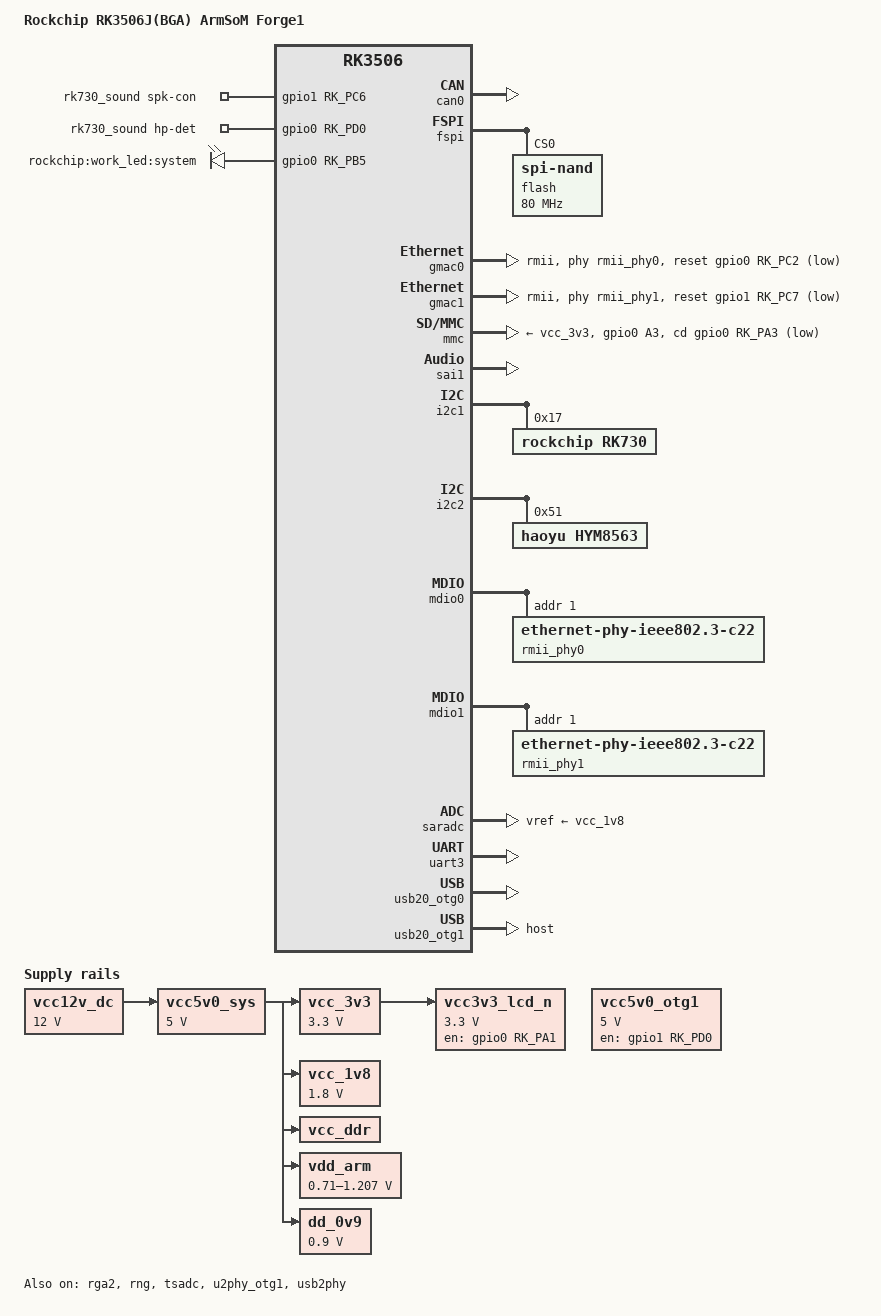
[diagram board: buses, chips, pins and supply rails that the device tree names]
// SPDX-License-Identifier: (GPL-2.0+ OR MIT)
/*
 * Copyright (c) 2024 Rockchip Electronics Co., Ltd.
 */

/dts-v1/;
// from rk3506b-evb1-v10
#include <dt-bindings/display/drm_mipi_dsi.h>
#include <dt-bindings/suspend/rockchip-rk3506.h>
#include <dt-bindings/input/rk-input.h>
#include "rk3506.dtsi"
#include "rk3506b-armsom-forge1-display-8hd.dtsi"

/ {
	model = "Rockchip RK3506J(BGA) ArmSoM Forge1";
	compatible = "rockchip,rk3506J-armsom-forge1", "rockchip,rk3506";

	vcc12v_dc: vcc12v-dc {
		compatible = "regulator-fixed";
		regulator-name = "vcc12v_dc";
		regulator-always-on;
		regulator-boot-on;
		regulator-min-microvolt = <12000000>;
		regulator-max-microvolt = <12000000>;
	};

	vcc5v0_sys: vcc5v0-sys {
		compatible = "regulator-fixed";
		regulator-name = "vcc5v0_sys";
		regulator-always-on;
		regulator-boot-on;
		regulator-min-microvolt = <5000000>;
		regulator-max-microvolt = <5000000>;
		vin-supply = <&vcc12v_dc>;
	};

	vcc_3v3: vcc-3v3 {
		compatible = "regulator-fixed";
		regulator-name = "vcc_3v3";
		regulator-always-on;
		regulator-boot-on;
		regulator-min-microvolt = <3300000>;
		regulator-max-microvolt = <3300000>;
		vin-supply = <&vcc5v0_sys>;
	};

	vcc_1v8: vcc-1v8 {
		compatible = "regulator-fixed";
		regulator-name = "vcc_1v8";
		regulator-always-on;
		regulator-boot-on;
		regulator-min-microvolt = <1800000>;
		regulator-max-microvolt = <1800000>;
		vin-supply = <&vcc5v0_sys>;
	};

	vcc_ddr: vcc-ddr {
		compatible = "regulator-fixed";
		regulator-name = "vcc_ddr";
		regulator-always-on;
		regulator-boot-on;
		vin-supply = <&vcc5v0_sys>;
	};

	vdd_arm: vdd-arm {
		compatible = "pwm-regulator";
		pwms = <&pwm0_4ch_0 0 5000 1>;
		regulator-name = "vdd_arm";
		regulator-min-microvolt = <710000>;
		regulator-max-microvolt = <1207000>;
		regulator-init-microvolt = <1011000>;
		regulator-always-on;
		regulator-boot-on;
		regulator-settling-time-up-us = <250>;
		pwm-supply = <&vcc5v0_sys>;
	};

	dd_0v9: vdd-0v9 {
		compatible = "regulator-fixed";
		regulator-name = "vdd_0v9";
		regulator-always-on;
		regulator-boot-on;
		regulator-min-microvolt = <900000>;
		regulator-max-microvolt = <900000>;
		vin-supply = <&vcc5v0_sys>;
	};

	vcc3v3_lcd_n: vcc3v3-lcd0-n {
		compatible = "regulator-fixed";
		regulator-name = "vcc3v3_lcd_n";
		regulator-boot-on;
		regulator-min-microvolt = <3300000>;
		regulator-max-microvolt = <3300000>;
		regulator-always-on;
		enable-active-high;
		gpio = <&gpio0 RK_PA1 GPIO_ACTIVE_HIGH>;
		vin-supply = <&vcc_3v3>;
	};

	vcc5v0_otg1: vcc5v0-otg1-regulator {
		compatible = "regulator-fixed";
		regulator-name = "vcc5v0_otg1";
		regulator-boot-on;
		regulator-always-on;
		regulator-min-microvolt = <5000000>;
		regulator-max-microvolt = <5000000>;
		enable-active-high;
		gpio = <&gpio1 RK_PD0 GPIO_ACTIVE_HIGH>;
		pinctrl-names = "default";
		pinctrl-0 = <&vcc5v0_otg1_en>;
	};

	fiq_debugger: fiq-debugger {
		compatible = "rockchip,fiq-debugger";
		rockchip,serial-id = <0>;
		rockchip,wake-irq = <0>;
		rockchip,irq-mode-enable = <1>;
		rockchip,baudrate = <1500000>;	/* Only 115200 and 1500000 */
		interrupts = <GIC_SPI 115 IRQ_TYPE_LEVEL_HIGH>;
	};

	rk730_sound: rk730-sound {
		compatible = "rockchip,multicodecs-card";
		rockchip,card-name = "rockchip-rk730";
		spk-con-gpio = <&gpio1 RK_PC6 GPIO_ACTIVE_HIGH>;
		hp-det-gpio = <&gpio0 RK_PD0 GPIO_ACTIVE_HIGH>;
		pinctrl-names = "default";
		pinctrl-0 = <&hp_det_pin>;
		rockchip,pre-power-on-delay-ms = <30>;
		rockchip,post-power-down-delay-ms = <40>;
		rockchip,format = "i2s";
		rockchip,mclk-fs = <512>;
		rockchip,cpu = <&sai1>;
		rockchip,codec = <&rk730>;
		rockchip,audio-routing =
			"Headphone", "LOUT1",
			"Headphone", "ROUT1",
			"Speaker", "LOUT2",
			"Speaker", "ROUT2",
			"Headphone", "Headphone Power",
			"Headphone", "Headphone Power",
			"Speaker", "Speaker Power",
			"Speaker", "Speaker Power",
			"MIC2", "Main Mic",
			"MIC1", "Main Mic";
	};

	leds {
		compatible = "gpio-leds";
		pinctrl-name = "default";
		pinctrl-0 = <&work_led>;

		green-led {
			default-state = "on";
			gpios = <&gpio0 RK_PB5 GPIO_ACTIVE_HIGH>;
			label = "rockchip:work_led:system";
			linux,default-trigger = "heartbeat";
		};
	};
};

&can0 {
	assigned-clocks = <&cru CLK_CAN0>;
	assigned-clock-rates = <300000000>;
	pinctrl-0 = <&rm_io19_can0_tx &rm_io20_can0_rx>;
	pinctrl-names = "default";
	status = "okay";
};

&cma {
	size = <0x1600000>;
};

&cpu0 {
	cpu-supply = <&vdd_arm>;
};

&fspi {
	status = "okay";

	flash@0 {
		compatible = "spi-nand";
		reg = <0>;
		spi-max-frequency = <80000000>;
		spi-rx-bus-width = <4>;
		spi-tx-bus-width = <1>;
	};
};

&gmac0 {
	phy-mode = "rmii";
	clock_in_out = "output";

	snps,reset-gpio = <&gpio0 RK_PC2 GPIO_ACTIVE_LOW>;
	snps,reset-active-low;
	snps,reset-delays-us = <0 20000 100000>;

	pinctrl-names = "default";
	pinctrl-0 = <&eth_rmii0_miim_pins
		     &eth_rmii0_tx_bus2_pins
		     &eth_rmii0_rx_bus2_pins
		     &eth_rmii0_clk_pins>;

	phy-handle = <&rmii_phy0>;
	status = "okay";
};

&gmac1 {
	phy-mode = "rmii";
	clock_in_out = "output";

	snps,reset-gpio = <&gpio1 RK_PC7 GPIO_ACTIVE_LOW>;
	snps,reset-active-low;
	snps,reset-delays-us = <0 20000 100000>;

	pinctrl-names = "default";
	pinctrl-0 = <&eth_rmii1_miim_pins
		     &eth_rmii1_tx_bus2_pins
		     &eth_rmii1_rx_bus2_pins
		     &eth_rmii1_clk_pins>;

	phy-handle = <&rmii_phy1>;
	status = "okay";
};

&mmc {
	no-sdio;
	no-mmc;
	pinctrl-names = "default";
	pinctrl-0 = <&sdmmc_bus4_pins &sdmmc_clk_pins &sdmmc_cmd_pins &sd_det>;
	cd-gpios = <&gpio0 RK_PA3 GPIO_ACTIVE_LOW>;
	// cd-debounce-delay-ms = <5>;
	disable-wp;
	vmmc-supply = <&vcc_3v3>;
	vqmmc-supply = <&vcc_3v3>;
	status = "okay";
};

&pinctrl {
    ethernet {
		rmii0_rstn: rmii0-rstn {
			rockchip,pins = <0 RK_PB7 RK_FUNC_GPIO &pcfg_pull_none>;
		};

		rmii1_rstn: rmii1-rstn {
			rockchip,pins = <0 RK_PC0 RK_FUNC_GPIO &pcfg_pull_none>;
		};
	};

	sdcard {
		sd_det: sd-det {
			rockchip,pins = <0 RK_PA3 RK_FUNC_GPIO &pcfg_pull_up>;
		};
	};

	usb {
		vcc5v0_otg1_en: vcc5v0-otg1-en {
			rockchip,pins = <1 RK_PD0 RK_FUNC_GPIO &pcfg_pull_none>;
		};
	};

	rk730 {
		hp_det_pin: hp-det-pin {
			rockchip,pins = <0 RK_PD0 RK_FUNC_GPIO &pcfg_pull_none>;
		};
	};

	led {
		work_led: work-led {
			rockchip,pins = <0 RK_PB5 RK_FUNC_GPIO &pcfg_pull_none>;
		};
	};
};

&rga2 {
	status = "okay";
};

&rng {
	status = "okay";
};

&rockchip_suspend {
	rockchip,sleep-mode-config = <
		(0
		| RKPM_ARMOFF_DDRPD
		| RKPM_24M_OSC_DIS
		| RKPM_32K_CLK
		| RKPM_32K_SRC_RC
		| RKPM_PWM0_CH0_REGULATOR
		)
	>;

	rockchip,apios-suspend = <
		(0
		| RKPM_PWREN_CORE_GPIO0A2 | RKPM_PWREN_CORE_ACT_LOW
		| RKPM_PWREN_SLEEP_GPIO0A0 | RKPM_PWREN_SLEEP_ACT_LOW
		)
	>;

#define GPIO0_IOC_GPIO0A_PULL_REG	0xff950200
#define GPIO0_IOC_GPIO0B_PULL_REG	0xff950204
#define GPIO0_IOC_GPIO0C_PULL_REG	0xff950208
#define GPIO0A3_PULL_DOWN		0x00c00080
#define GPIO0B0_PULL_DOWN		0x00030002
#define GPIO0C5_PULL_DOWN		0x0c000800

	/* Note: support max 16 pairs */
	rockchip,sleep-io-config = <
		GPIO0_IOC_GPIO0C_PULL_REG GPIO0C5_PULL_DOWN /* PWM0_CH0_CPU */
		GPIO0_IOC_GPIO0A_PULL_REG GPIO0A3_PULL_DOWN /* PWM0_CH2_LCD_BL */
		GPIO0_IOC_GPIO0B_PULL_REG GPIO0B0_PULL_DOWN /* SAI1_MCLK */
	>;
};


&sai1 {
    pinctrl-names = "default", "sleep";
	pinctrl-0 = <&rm_io9_sai1_sclk
		     &rm_io10_sai1_lrck
		     &rm_io11_sai1_sdi
		     &rm_io12_sai1_sdo0>;
	pinctrl-1 = <&rm_io9_idle_pins
		     &rm_io10_idle_pins
		     &rm_io11_idle_pins
		     &rm_io12_idle_pins>;
	status = "okay";
};

&i2c1 {
	status = "okay";
	pinctrl-names = "default";
	pinctrl-0 = <&rm_io16_i2c1_scl &rm_io17_i2c1_sda>;

	rk730: rk730@17 {
		#sound-dai-cells = <0>;
		compatible = "rockchip,rk730";
		reg = <0x17>;
		clocks = <&mclkout_sai1>;
		clock-names = "mclk";
		assigned-clocks = <&mclkout_sai1>;
		assigned-clock-rates = <12288000>;
		pinctrl-names = "default";
		pinctrl-0 = <&rm_io8_sai1_mclk>;
		status = "okay";
	};
};

&i2c2{
	status = "okay";
	pinctrl-names = "default";
	pinctrl-0 = <&rm_io4_i2c2_scl &rm_io5_i2c2_sda>;

	hym8563: hym8563@51 {
		compatible = "haoyu,hym8563";
		reg = <0x51>;
	};
};

&mdio0 {
	rmii_phy0: phy@1 {
		compatible = "ethernet-phy-ieee802.3-c22";
		reg = <0x1>;
	};
};

&mdio1 {
	rmii_phy1: phy@1 {
		compatible = "ethernet-phy-ieee802.3-c22";
		reg = <0x1>;
	};
};

&saradc {
	vref-supply = <&vcc_1v8>;
	status = "okay";
};

&tsadc {
	status = "okay";
};

&uart3 {
	pinctrl-names = "default";
	pinctrl-0 = <&rm_io14_uart3_tx &rm_io15_uart3_rx>;
	linux,rs485-enabled-at-boot-time;
	status = "okay";
};

&usb20_otg0 {
	status = "okay";
};

&u2phy_otg1 {
    phy-supply = <&vcc5v0_otg1>;
	status = "okay";
};

&usb2phy {
	status = "okay";
};

&usb20_otg1 {
	dr_mode = "host";
	status = "okay";
};
